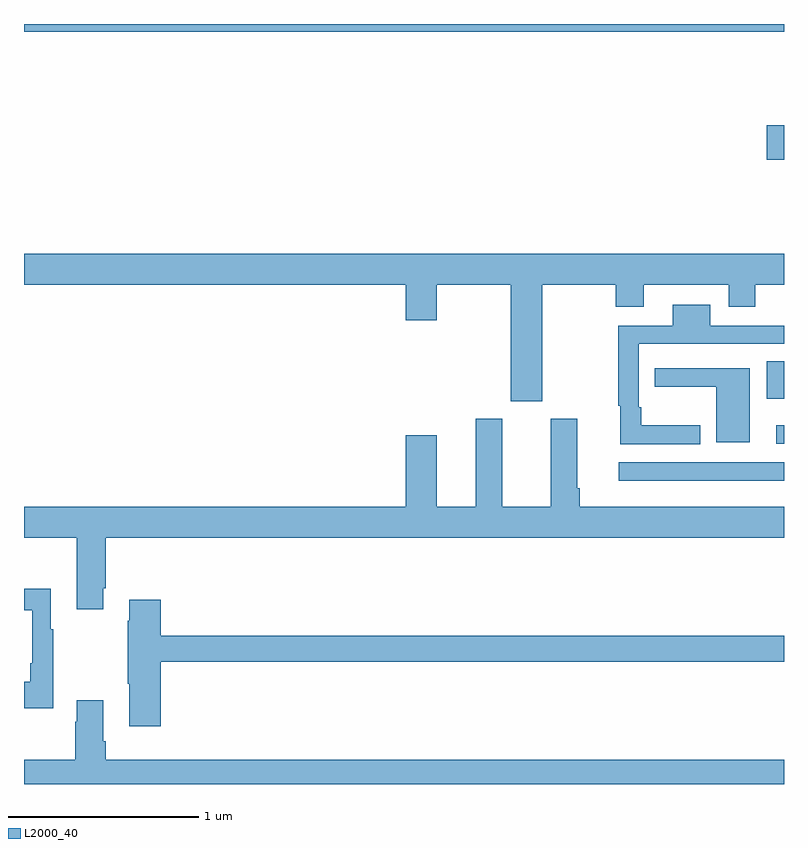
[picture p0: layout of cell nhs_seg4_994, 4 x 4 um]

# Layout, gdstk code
import gdstk
lib = gdstk.Library(unit=1e-6, precision=1e-09)
def R(c, l, rs):  # rectangles x0, y0, x1, y1
    for r in rs: c.add(gdstk.rectangle(r[:2], r[2:], *l))
def P(c, l, *ps):  # polygons
    for p in ps: c.add(gdstk.Polygon(p, *l))
L2000_40 = (2000, 40)

nhs_seg4_994 = lib.new_cell('nhs_seg4_994')
R(nhs_seg4_994, L2000_40, [(166.131,754.496,167,754.593), (166.959,754.692,167,754.789), (166.91,754.928,167,755.125), (166.908,756.185,167,756.368), (163,756.86,167,756.9)])
P(nhs_seg4_994, L2000_40, [(165.727,755.528),(166.114,755.528),(166.114,755.411),(166.261,755.411),(166.261,755.528),(166.709,755.528),(166.709,755.411),(166.849,755.411),(166.849,755.528),(167,755.528),(167,755.692),(163,755.692),(163,755.528),(165.008,755.528),(165.008,755.34),(165.172,755.34),(165.172,755.528),(165.563,755.528),(165.563,754.914),(165.727,754.914)],
  [(166.558,754.787),(166.249,754.787),(166.249,754.882),(166.236,754.882),(166.236,755.217),(167,755.217),(167,755.313),(166.612,755.313),(166.612,755.422),(166.415,755.422),(166.415,755.313),(166.128,755.313),(166.128,754.892),(166.138,754.892),(166.138,754.689),(166.558,754.689)],
  [(166.819,755.088),(166.429,755.088),(166.429,755.087),(166.321,755.087),(166.321,754.991),(166.643,754.991),(166.643,754.7),(166.819,754.7)],
  [(163.417,753.931),(163.43,753.931),(163.43,754.196),(167,754.196),(167,754.36),(165.926,754.36),(165.926,754.456),(165.913,754.456),(165.913,754.822),(165.773,754.822),(165.773,754.36),(165.517,754.36),(165.517,754.822),(165.377,754.822),(165.377,754.36),(165.172,754.36),(165.172,754.735),(165.008,754.735),(165.008,754.36),(163,754.36),(163,754.196),(163.277,754.196),(163.277,753.819),(163.417,753.819)],
  [(163.153,753.715),(163.141,753.715),(163.141,753.928),(163,753.928),(163,753.815),(163.044,753.815),(163.044,753.535),(163.032,753.535),(163.032,753.439),(163,753.439),(163,753.299),(163.153,753.299)],
  [(163.721,753.544),(167,753.544),(167,753.68),(163.721,753.68),(163.721,753.871),(163.553,753.871),(163.553,753.758),(163.546,753.758),(163.546,753.427),(163.553,753.427),(163.553,753.204),(163.721,753.204)],
  [(167,753.028),(163.43,753.028),(163.43,753.124),(163.417,753.124),(163.417,753.34),(163.277,753.34),(163.277,753.227),(163.27,753.227),(163.27,753.028),(163,753.028),(163,752.9),(167,752.9)])

lib.write_gds('nhs_seg4_994.gds')
